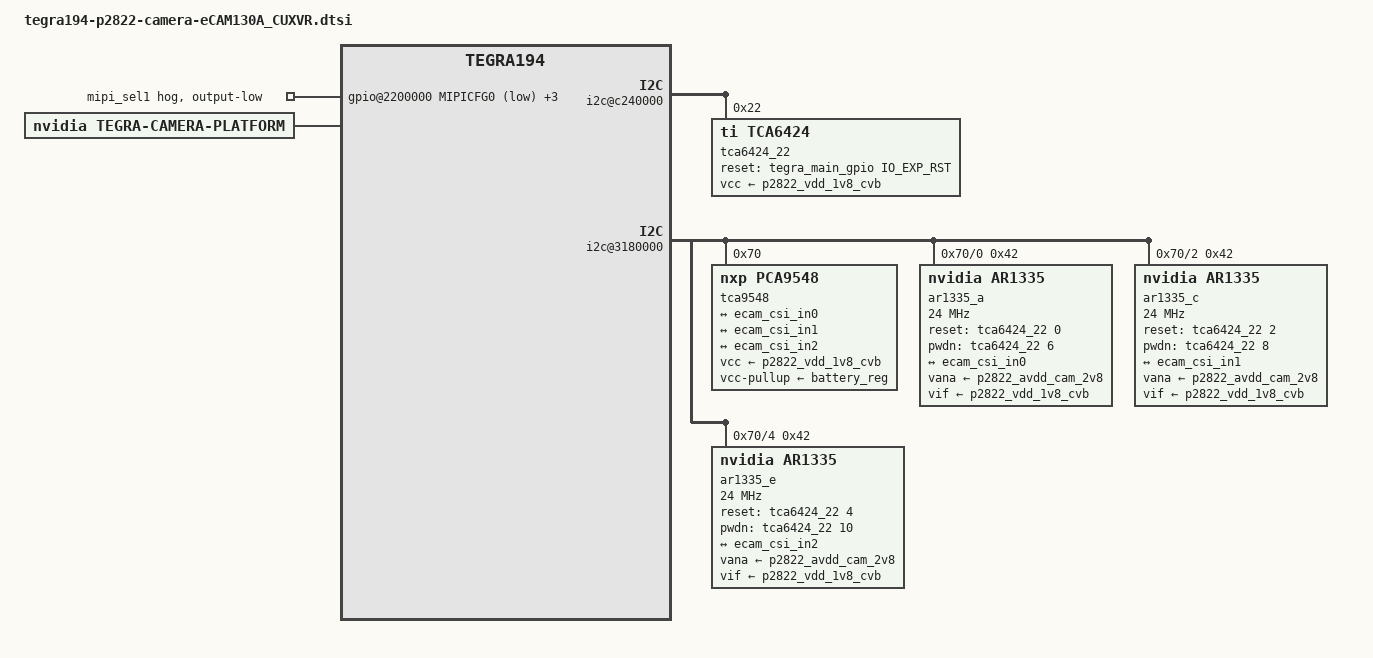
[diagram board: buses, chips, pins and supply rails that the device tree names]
/*
 * Copyright (c) 2017-2022, NVIDIA CORPORATION.  All rights reserved.
 *
 * This program is free software; you can redistribute it and/or modify it
 * under the terms and conditions of the GNU General Public License,
 * version 2, as published by the Free Software Foundation.
 *
 * This program is distributed in the hope it will be useful, but WITHOUT
 * ANY WARRANTY; without even the implied warranty of MERCHANTABILITY or
 * FITNESS FOR A PARTICULAR PURPOSE.  See the GNU General Public License for
 * more details.
 *
 * You should have received a copy of the GNU General Public License
 * along with this program.  If not, see <http://www.gnu.org/licenses/>.
 */

#include <dt-bindings/media/camera.h>
#include "dt-bindings/clock/tegra194-clock.h"
#define MIPICFG0 	TEGRA194_MAIN_GPIO(H, 3)
#define MIPICFG1	TEGRA194_MAIN_GPIO(H, 6)
#define MIPICFG2	TEGRA194_MAIN_GPIO(T, 5)
#define IO_EXP_RST	TEGRA194_MAIN_GPIO(T, 6)

#define CAM_LANES 4
#define CAM_LANES_STRING "4"


/ {
	gpio@2200000 {
		camera-control-output-low {
			gpio-hog;
			output-low;
			gpios =  <MIPICFG0 1 MIPICFG1 1 MIPICFG2 0
					IO_EXP_RST 1>;
			label = "mipi_sel1", "mipi_sel2",
				  "mipi_sel_3","cam_ioexp_rst";
		};
	};
	tegra-capture-vi {
			num-channels = <3>;
			#address-cells = <1>;
			#size-cells = <0>;
			ports {
				#address-cells = <1>;
				#size-cells = <0>;
				 vi_port0: port@0 {
					reg = <0>;
					ecam_vi_in0: endpoint {
						port-index = <0>;
						bus-width = <CAM_LANES>;
						remote-endpoint = <&ecam_csi_out0>;
					};
				};
				vi_port1: port@1 {
					reg = <1>;
					ecam_vi_in1: endpoint {
						port-index = <2>;
						bus-width = <CAM_LANES>;
						remote-endpoint = <&ecam_csi_out1>;
					};
				};
				vi_port2: port@2 {
					reg = <2>;
					ecam_vi_in2: endpoint {
						port-index = <4>;
						bus-width = <CAM_LANES>;
						remote-endpoint = <&ecam_csi_out2>;
					};
				};
			};
		};
	host1x@13e00000 {
		nvcsi@15a00000 {
			num-channels = <3>;
			#address-cells = <1>;
			#size-cells = <0>;
			csi_chan0: channel@0 {
				reg = <0>;
				ports {
					#address-cells = <1>;
					#size-cells = <0>;
					csi_chan0_port0: port@0 {
						reg = <0>;
						ecam_csi_in0: endpoint@0 {
							port-index = <0>;
							bus-width = <CAM_LANES>;
							remote-endpoint = <&ecam_ar1335_out0>;
						};
					};
					csi_chan0_port1: port@1 {
						reg = <1>;
						ecam_csi_out0: endpoint@1 {
							remote-endpoint = <&ecam_vi_in0>;
						};
					};
				};
			};
			 csi_chan1: channel@1 {
				reg = <1>;
				ports {
					#address-cells = <1>;
					#size-cells = <0>;
					csi_chan1_port0: port@0 {
						reg = <0>;
						ecam_csi_in1: endpoint@2 {
							port-index = <2>;
							bus-width = <CAM_LANES>;
							remote-endpoint = <&ecam_ar1335_out1>;
						};
					};
					csi_chan1_port1: port@1 {
						reg = <1>;
						ecam_csi_out1: endpoint@3 {
							remote-endpoint = <&ecam_vi_in1>;
						};
					};
				};
			};
			csi_chan2: channel@2 {
				reg = <2>;
				ports {
					#address-cells = <1>;
					#size-cells = <0>;
					csi_chan2_port0: port@0 {
						reg = <0>;
						ecam_csi_in2: endpoint@4 {
							port-index = <4>;
							bus-width = <CAM_LANES>;
							remote-endpoint = <&ecam_ar1335_out2>;
						};
					};
					csi_chan2_port1: port@1 {
						reg = <1>;
						ecam_csi_out2: endpoint@5 {
							remote-endpoint = <&ecam_vi_in2>;
						};
					};
				};
			};
		};
	};
	fixed-regulators {
			p2822_vdd_1v8_cvb: regulator@102 {
					regulator-always-on;
			};
	};

	i2c@c240000 {
		#address-cells = <1>;
		#size-cells = <0>;
		tca6424_22: tca6424@22 {
			compatible = "ti,tca6424";
			gpio-controller;
			#gpio-cells = <2>;
			reg = <0x22>;
			vcc-supply = <&p2822_vdd_1v8_cvb>;
			//vcc-pullup-supply = <&battery_reg>;
			reset-gpios = <&tegra_main_gpio IO_EXP_RST GPIO_ACTIVE_HIGH>;
			tca6424_22_outlow {
				/*
				 * GPIO-0  : RST_CAM1
				 * GPIO-1  : RST_CAM2
				 * GPIO-2  : RST_CAM3
				 * GPIO-3  : RST_CAM4
				 * GPIO-4  : RST_CAM5
				 * GPIO-5  : RST_CAM6
				 * GPIO-6  : PWDN_CAM1
				 * GPIO-7  : PWDN_CAM2
				 * GPIO-8  : PWDN_CAM3
				 * GPIO-9  : PWDN_CAM4
				 * GPIO-10 : PWDN_CAM5
				 * GPIO-11 : PWDN_CAM6
				 */

				gpio-hog;
				gpios = <0 0 1 0 2 0 3 0 4 0 5 0 6 0 7 0 8 0 9 0 10 0 11 0 12 0 13 0 14 0 15 0 22 0 23 0>;
				output-low;
				label = "tca6424_22_rst_cam0_0",
					"tca6424_22_rst_cam1_1",
					"tca6424_22_rst_cam2_2",
					"tca6424_22_rst_cam3_3",
					"tca6424_22_rst_cam4_4",
					"tca6424_22_rst_cam5_5",
					"tca6424_22_boot_cam0_6",
					"tca6424_22_boot_cam1_7",
					"tca6424_22_boot_cam2_8",
					"tca6424_22_boot_cam3_9",
					"tca6424_22_boot_cam4_10",
					"tca6424_22_boot_cam5_11",
					"tca6424_22_flash_cam0_12",
					"tca6424_22_flash_cam1_13";
			};
			tca6424_22_input {
				gpio-hog;
				gpios = < 16 0 17 0 18 0 19 0 20 0 21 0>;
				output-low;
				label = "tca6424_22_spi_cam0_16",
					  "tca6424_22_spi_cam1_17",
					  "tca6424_22_spi_cam2_18",
					  "tca6424_22_spi_cam3_19",
					  "tca6424_22_spi_cam4_20",
					  "tca6424_22_spi_cam5_21";
			};
		};
	};


	i2c@3180000 {
		#address-cells = <1>;
		#size-cells = <0>;
		tca9548@70 {
			compatible = "nxp,pca9548";
			reg = <0x70>;
			#address-cells = <1>;
			#size-cells = <0>;
			vcc-supply = <&p2822_vdd_1v8_cvb>;
			vcc-pullup-supply = <&battery_reg>;
			skip_mux_detect;
			force_bus_start = <0x1e>;
			i2c@0 {
				reg = <0>;
				i2c-mux,deselect-on-exit;
				#address-cells = <1>;
				#size-cells = <0>;
				ar1335_a@42 {
					compatible = "nvidia,ar1335";
					reg = <0x42>;
					sensor_model ="ar1335";
					avdd-reg = "vana";
					iovdd-reg = "vif";
					clocks = <&bpmp_clks TEGRA194_CLK_EXTPERIPH1>,
						   	 <&bpmp_clks TEGRA194_CLK_PLLP_OUT0>;
					clock-names = "extperiph1", "pllp_grtba";
					mclk = "extperiph1";
					clock-frequency = <24000000>;
					reset-gpios = <&tca6424_22 0 GPIO_ACTIVE_HIGH>;
					pwdn-gpios = <&tca6424_22 6 GPIO_ACTIVE_HIGH>;
					vana-supply = <&p2822_avdd_cam_2v8>;
					vif-supply = <&p2822_vdd_1v8_cvb>;
					use_sensor_mode_id = "false";
					camera_mipi_lanes = <CAM_LANES>;
					pwm-upper_limit = <342>;
					pwm-lower_limit = <340>;
					pwm-invert= <1>;
					pwm-duty_ns = <0x1CBC720>;
					pwm-period_ns = <0x2045B80>;
					pwm-name = "ecam-trigger";
#define TEGRA_SINTERFACE "serial_a"
#include "e-cam130a_cuxvr_modes.dtsi"
					ports {
					#address-cells = <1>;
					#size-cells = <0>;
						port@0 {
							reg = <0>;
							ecam_ar1335_out0: endpoint {
								port-index = <0>;
								bus-width = <CAM_LANES>;
								remote-endpoint = <&ecam_csi_in0>;
							};
						};
					};
				};
			};
			i2c@2{
				reg = <2>;
				i2c-mux,deselect-on-exit;
				#address-cells = <1>;
				#size-cells = <0>;
				ar1335_c@42 {
					compatible = "nvidia,ar1335";
					reg = <0x42>;
					sensor_model ="ar1335";
					avdd-reg = "vana";
					iovdd-reg = "vif";
					clocks = <&bpmp_clks TEGRA194_CLK_EXTPERIPH1>,
						   	 <&bpmp_clks TEGRA194_CLK_PLLP_OUT0>;
					clock-names = "extperiph1", "pllp_grtba";
					mclk = "extperiph1";
					clock-frequency = <24000000>;
					reset-gpios = <&tca6424_22 2 GPIO_ACTIVE_HIGH>;
					pwdn-gpios = <&tca6424_22 8 GPIO_ACTIVE_HIGH>;
					vana-supply = <&p2822_avdd_cam_2v8>;
					vif-supply = <&p2822_vdd_1v8_cvb>;
					use_sensor_mode_id = "false";
					camera_mipi_lanes = <CAM_LANES>;
					pwm-upper_limit = <342>;
					pwm-lower_limit = <340>;
					pwm-invert= <1>;
					pwm-duty_ns = <0x1CBC720>;
					pwm-period_ns = <0x2045B80>;
					pwm-name = "ecam-trigger";
#undef TEGRA_SINTERFACE
#define TEGRA_SINTERFACE "serial_c"
#include "e-cam130a_cuxvr_modes.dtsi"
					ports {
					#address-cells = <1>;
					#size-cells = <0>;
						port@0 {
							reg = <0>;
							ecam_ar1335_out1: endpoint {
								port-index = <2>;
								bus-width = <CAM_LANES>;
								remote-endpoint = <&ecam_csi_in1>;
							};
						};
					};
				};
			};
			i2c@4{
				reg = <4>;
				i2c-mux,deselect-on-exit;
				#address-cells = <1>;
				#size-cells = <0>;
				ar1335_e@42 {
					compatible = "nvidia,ar1335";
					reg = <0x42>;
					sensor_model ="ar1335";
					avdd-reg = "vana";
					iovdd-reg = "vif";
					clocks = <&bpmp_clks TEGRA194_CLK_EXTPERIPH1>,
						   	 <&bpmp_clks TEGRA194_CLK_PLLP_OUT0>;
					clock-names = "extperiph1", "pllp_grtba";
					mclk = "extperiph1";
					clock-frequency = <24000000>;
					reset-gpios = <&tca6424_22 4 GPIO_ACTIVE_HIGH>;
					pwdn-gpios =  <&tca6424_22 10 GPIO_ACTIVE_HIGH>;
					vana-supply = <&p2822_avdd_cam_2v8>;
					vif-supply = <&p2822_vdd_1v8_cvb>;
					use_sensor_mode_id = "false";
					camera_mipi_lanes = <CAM_LANES>;
					pwm-upper_limit = <342>;
					pwm-lower_limit = <340>;
					pwm-invert= <1>;
					pwm-duty_ns = <0x1CBC720>;
					pwm-period_ns = <0x2045B80>;
					pwm-name = "ecam-trigger";
#undef TEGRA_SINTERFACE
#define TEGRA_SINTERFACE "serial_e"
#include "e-cam130a_cuxvr_modes.dtsi"
					ports {
						#address-cells = <1>;
						#size-cells = <0>;
						port@0 {
							reg = <0>;
							ecam_ar1335_out2: endpoint {
								port-index = <4>;
								bus-width = <CAM_LANES>;
								remote-endpoint = <&ecam_csi_in2>;
							};
						};
					};
				};
			};
		};
	};
};
/{
	 tegra-camera-platform {
		compatible = "nvidia, tegra-camera-platform";
		num_csi_lanes = <12>;
		max_lane_speed = <2500000>;
		min_bits_per_pixel = <16>;
		vi_peak_byte_per_pixel = <2>;
		vi_bw_margin_pct = <67>;

		modules {
			cam_module0: module0 {
				badge = "ecam_hexcu130-1";
				position = "rear1";
				orientation = "1";
				cam_module0_drivernode0: drivernode0 {
					pcl_id = "v4l2_sensor";
					devname = "e-CAM130A_CUXVR-1";
					proc-device-tree = "/proc/device-tree/i2c@3180000/tca9548@70/i2c@0/ar1335_a@42";
				};
			};
			cam_module1: module1 {
				badge = "ecam_hexcu130-2";
				position = "rear2";
				orientation = "1";
				cam_module1_drivernode0: drivernode0 {
					pcl_id = "v4l2_sensor";
					devname = "e-CAM130A_CUXVR-2";
					proc-device-tree = "/proc/device-tree/i2c@3180000/tca9548@70/i2c@2/ar1335_c@42";
				};
			};
			cam_module2: module2 {
				badge = "ecam_hexcu130-3";
				position = "rear3";
				orientation = "1";
				cam_module2_drivernode0: drivernode0 {
					pcl_id = "v4l2_sensor";
					devname = "e-CAM130A_CUXVR-3";
					proc-device-tree = "/proc/device-tree/i2c@3180000/tca9548@70/i2c@4/ar1335_e@42";
				};
			};
		};
	};
};

